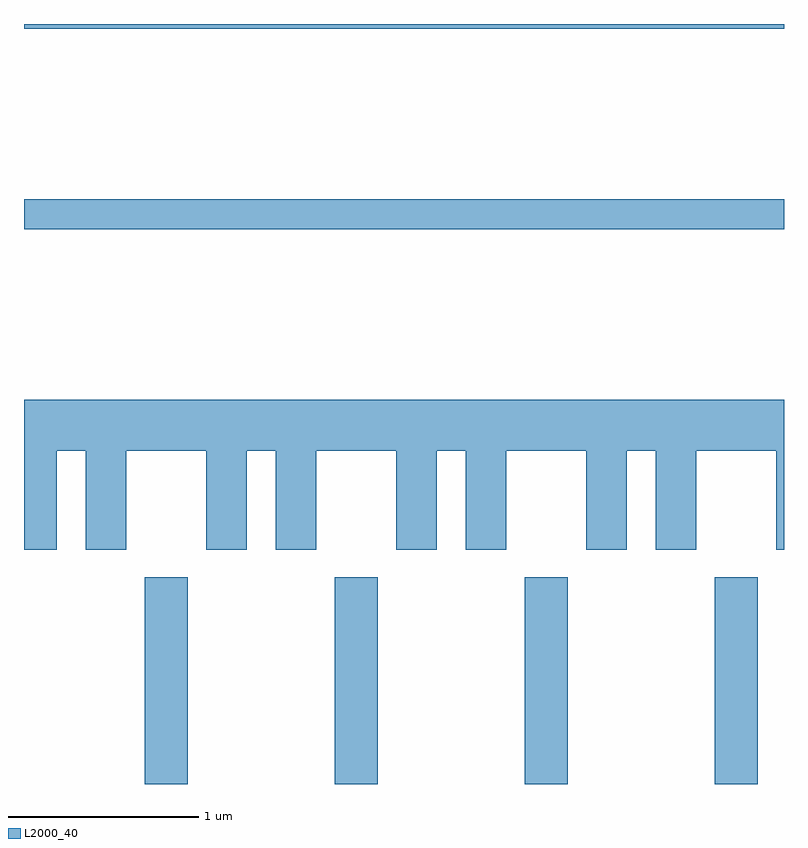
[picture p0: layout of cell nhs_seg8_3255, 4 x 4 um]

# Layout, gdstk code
import gdstk
lib = gdstk.Library(unit=1e-6, precision=1e-09)
def R(c, l, rs):  # rectangles x0, y0, x1, y1
    for r in rs: c.add(gdstk.rectangle(r[:2], r[2:], *l))
def A(c, l, x, y, w, h, nx, ny, dx, dy):  # array of equal rectangles
    R(c, l, [(x+i*dx, y+j*dy, x+i*dx+w, y+j*dy+h) for i in range(nx) for j in range(ny)])
def P(c, l, *ps):  # polygons
    for p in ps: c.add(gdstk.Polygon(p, *l))
L2000_40 = (2000, 40)

nhs_seg8_3255 = lib.new_cell('nhs_seg8_3255')
A(nhs_seg8_3255, L2000_40, 282.246, 1932.342, 0.228, 1.087, 4, 1, 1, 0)
R(nhs_seg8_3255, L2000_40, [(281.611,1935.261,285.611,1935.419), (281.611,1936.316,285.611,1936.342)])
P(nhs_seg8_3255, L2000_40, [(281.784,1934.096),(281.936,1934.096),(281.936,1933.576),(282.149,1933.576),(282.149,1934.096),(282.571,1934.096),(282.571,1933.576),(282.784,1933.576),(282.784,1934.096),(282.936,1934.096),(282.936,1933.576),(283.149,1933.576),(283.149,1934.096),(283.571,1934.096),(283.571,1933.576),(283.784,1933.576),(283.784,1934.096),(283.936,1934.096),(283.936,1933.576),(284.149,1933.576),(284.149,1934.096),(284.571,1934.096),(284.571,1933.576),(284.784,1933.576),(284.784,1934.096),(284.936,1934.096),(284.936,1933.576),(285.149,1933.576),(285.149,1934.096),(285.571,1934.096),(285.571,1933.576),(285.611,1933.576),(285.611,1934.364),(281.611,1934.364),(281.611,1933.576),(281.784,1933.576)])

lib.write_gds('nhs_seg8_3255.gds')
